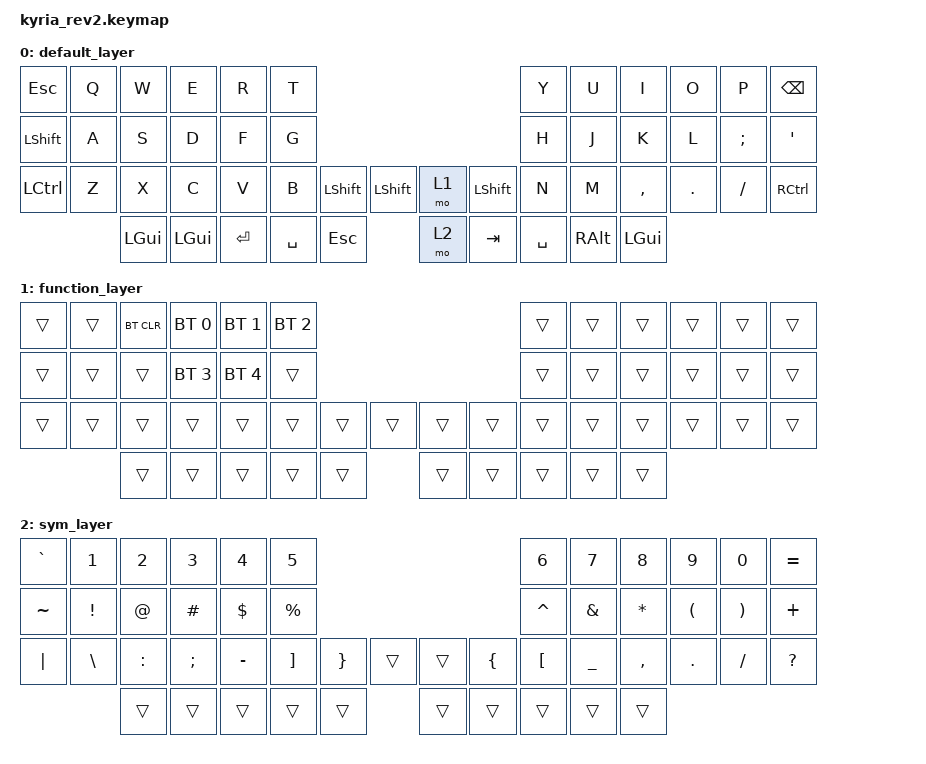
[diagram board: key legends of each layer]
/*
 * Copyright (c) 2020 The ZMK Contributors
 *
 * SPDX-License-Identifier: MIT
 */

#include <behaviors.dtsi>
#include <dt-bindings/zmk/bt.h>
#include <dt-bindings/zmk/keys.h>

/ {
    keymap {
        compatible = "zmk,keymap";

        default_layer {
// ---------------------------------------------------------------------------------------------------------------------------------
// |  ESC  |  Q  |  W  |  E   |  R   |  T   |                                          |  Y   |  U    |  I    |  O   |   P   |   \  |
// |  TAB  |  A  |  S  |  D   |  F   |  G   |                                          |  H   |  J    |  K    |  L   |   ;   |   '  |
// | SHIFT |  Z  |  X  |  C   |  V   |  B   | L SHIFT | L SHIFT |  | LAYER 1 | L SHIFT |  N   |  M    |  ,    |  .   |   /   | CTRL |
//                     | GUI  | DEL  | RET  |  SPACE  |   ESC   |  |   RET   |  SPACE  | TAB  | BSPC  | R-ALT |
            bindings = <
    &kp ESC   &kp Q &kp W &kp E &kp R &kp T                                                &kp Y &kp U  &kp I     &kp O   &kp P    &kp BSPC
    &kp LSHFT &kp A &kp S &kp D &kp F &kp G                                                &kp H &kp J  &kp K     &kp L   &kp SEMI &kp SQT
    &kp LCTRL &kp Z &kp X &kp C &kp V &kp B &kp LSHFT &kp LSHFT        &mo 1    &kp LSHFT  &kp N &kp M  &kp COMMA &kp DOT &kp FSLH &kp RCTRL
                     &kp LGUI &kp LGUI &kp RET &kp SPACE &kp ESC        &mo 2    &kp TAB  &kp SPACE &kp RALT &kp LGUI
            >;
        };
        function_layer {
// ---------------------------------------------------------------------------------------------------------------------------------
// |       |      |BT_CLR|BTSEL0|BTSEL1|BTSEL2|                                         |      |      |      |      |      |      |
// |       |      |      |BTSEL3|BTSEL4|      |                                         |      |      |      |      |      |      |
// |       |      |      |      |      |      |      |      |      |      |      |      |      |      |      |      |      |      |
//                       |      |      |      |      |      |      |      |      |      |      |      |      |
            bindings = <
    &trans &trans &bt BT_CLR &bt BT_SEL 0 &bt BT_SEL 1 &bt BT_SEL 2              &trans &trans &trans &trans &trans &trans
    &trans &trans &trans     &bt BT_SEL 3 &bt BT_SEL 4 &trans                    &trans &trans &trans &trans &trans &trans
    &trans &trans &trans &trans &trans &trans &trans &trans        &trans &trans &trans &trans &trans &trans &trans &trans
                         &trans &trans &trans &trans &trans        &trans &trans &trans &trans &trans
            >;
        };
        sym_layer {
            bindings = <
    &kp GRAVE  &kp N1  &kp N2  &kp N3  &kp N4  &kp N5                                           &kp N6  &kp N7  &kp N8  &kp N9  &kp N0  &kp EQUAL
    &kp TILDE  &kp EXCL &kp AT  &kp HASH  &kp DLLR &kp PRCNT                                     &kp CARET &kp AMPS &kp ASTRK &kp LPAR &kp RPAR &kp PLUS
    &kp PIPE  &kp BSLH &kp COLON &kp SEMI &kp MINUS &kp RBKT &kp RBRC &trans &trans &kp LBRC &kp LBKT &kp UNDER &kp COMMA  &kp DOT &kp FSLH &kp QMARK
                         &trans &trans &trans &trans &trans        &trans &trans &trans &trans &trans
            >;
        };
    };
};
